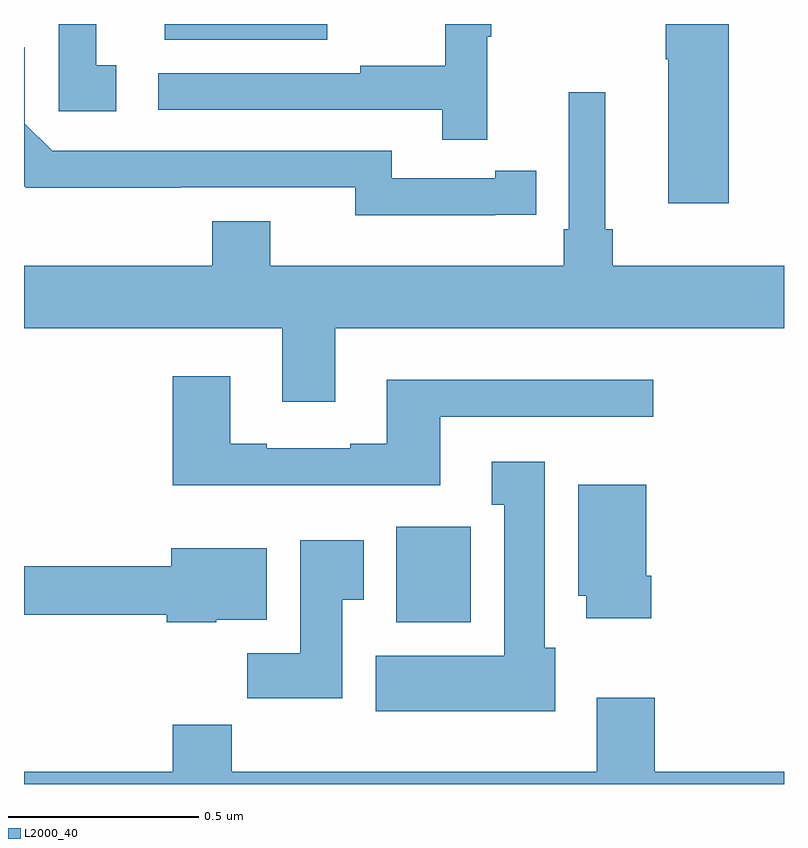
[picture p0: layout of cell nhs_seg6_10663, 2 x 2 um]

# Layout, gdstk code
import gdstk
lib = gdstk.Library(unit=1e-6, precision=1e-09)
def R(c, l, rs):  # rectangles x0, y0, x1, y1
    for r in rs: c.add(gdstk.rectangle(r[:2], r[2:], *l))
def P(c, l, *ps):  # polygons
    for p in ps: c.add(gdstk.Polygon(p, *l))
L2000_40 = (2000, 40)

nhs_seg6_10663 = lib.new_cell('nhs_seg6_10663')
R(nhs_seg6_10663, L2000_40, [(250.979,915.926,251.175,916.177), (250.37,917.459,250.798,917.5)])
P(nhs_seg6_10663, L2000_40, [(250.243,917.391),(250.19,917.391),(250.19,917.5),(250.092,917.5),(250.092,917.271),(250.243,917.271)],
  [(251.855,917.5),(251.689,917.5),(251.689,917.407),(251.696,917.407),(251.696,917.028),(251.855,917.028)],
  [(251.219,917.467),(251.23,917.467),(251.23,917.5),(251.109,917.5),(251.109,917.39),(250.885,917.39),(250.885,917.37),(250.353,917.37),(250.353,917.274),(251.101,917.274),(251.101,917.196),(251.219,917.196)],
  [(251.24,916.998),(251.348,916.998),(251.348,917.114),(251.24,917.114),(251.24,917.094),(250.968,917.094),(250.968,917.166),(250.074,917.166),(250.002,917.238),(250.002,917.439),(250,917.439),(250,917.073),(250.004,917.069),(250.412,917.069),(250.412,917.07),(250.872,917.07),(250.872,916.997),(251.24,916.997)],
  [(250.819,916.7),(252,916.7),(252,916.864),(251.549,916.864),(251.549,916.96),(251.53,916.96),(251.53,917.32),(251.433,917.32),(251.433,916.96),(251.42,916.96),(251.42,916.864),(250.648,916.864),(250.648,916.981),(250.496,916.981),(250.496,916.864),(250,916.864),(250,916.7),(250.679,916.7),(250.679,916.506),(250.819,916.506)],
  [(251.095,916.467),(251.656,916.467),(251.656,916.564),(250.955,916.564),(250.955,916.396),(250.859,916.396),(250.859,916.383),(250.639,916.383),(250.639,916.396),(250.543,916.396),(250.543,916.573),(250.391,916.573),(250.391,916.286),(251.095,916.286)],
  [(251.398,915.858),(251.371,915.858),(251.371,916.348),(251.231,916.348),(251.231,916.235),(251.264,916.235),(251.264,915.838),(250.925,915.838),(250.925,915.692),(251.398,915.692)],
  [(251.651,916.048),(251.638,916.048),(251.638,916.288),(251.459,916.288),(251.459,915.996),(251.48,915.996),(251.48,915.936),(251.651,915.936)],
  [(250.837,915.985),(250.894,915.985),(250.894,916.141),(250.727,916.141),(250.727,915.844),(250.588,915.844),(250.588,915.726),(250.837,915.726)],
  [(250.506,915.932),(250.639,915.932),(250.639,916.12),(250.388,916.12),(250.388,916.073),(250,916.073),(250,915.945),(250.376,915.945),(250.376,915.926),(250.506,915.926)],
  [(252,915.532),(251.66,915.532),(251.66,915.727),(251.507,915.727),(251.507,915.532),(250.547,915.532),(250.547,915.656),(250.391,915.656),(250.391,915.532),(250,915.532),(250,915.5),(252,915.5)])

lib.write_gds('nhs_seg6_10663.gds')
